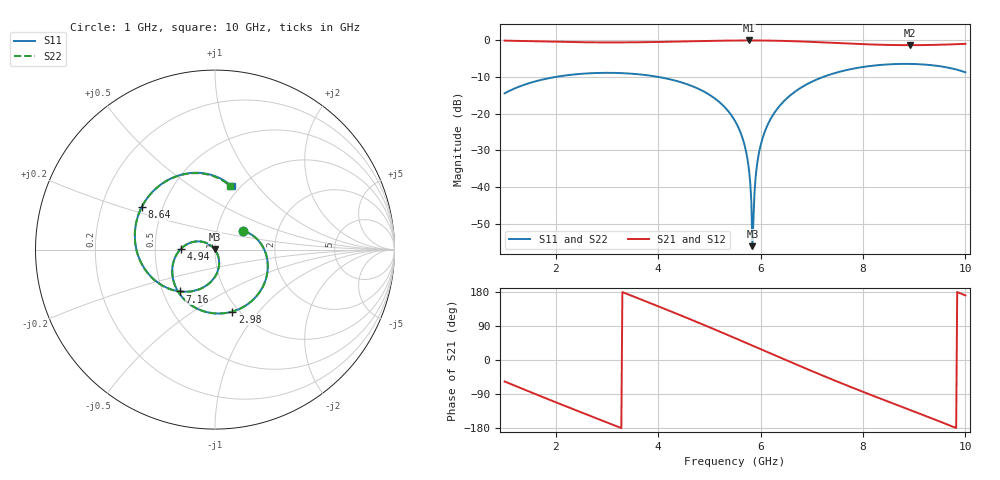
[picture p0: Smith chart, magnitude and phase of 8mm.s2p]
! Touchstone file exported from HFSS 2018.2.0
!  File:  C:/Users/10024/OneDrive - The University of Nottingham Ningbo China/Year 4/Final Year Project/HFSS project/Passive_Resonator_Antenna.aedt
!  Generated:  12:15:00 下午  3月 12, 2022
!  Design:  SMA_Thru
!  Project:  Passive_Resonator_Antenna
!  Setup:  Setup1
!  Solution:  Sweep
! Variables:
!  MW = 1mm
!  ThruL = 8mm
!  g = 0.2mm
!  subH = 0.8mm
!  subX = 20mm
!  subY = 18mm
!  tapW = 1mm
# GHZ S MA R 50.000000
! Modal data exported
! Port[1] = SMA_CONNECTOR1_1:1
! Port[2] = SMA_CONNECTOR2_1:1
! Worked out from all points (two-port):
!   451 points, 1 GHz to 10 GHz, reference 50 ohm
!   highest |S21| = -0.12 dB at 5.78 GHz (marker M1); lowest = -1.4 dB at 8.92 GHz (marker M2)
!   |S21| within 3 dB of the highest: start of sweep to end of sweep
!   lowest |S11| = -56.0 dB at 5.84 GHz (marker M3), VSWR 1.00, Z = 49.9 + j0.0644 ohm
!   |S11| at or under -10 dB: start of sweep to 2.008 GHz; 3.992 GHz to 7.227 GHz (3.235 GHz wide, 57.7 % of centre)
!   |S22| runs from -56.8 to -6.5 dB; largest |S21 - S12| = 2.4e-14
!   S11 on the Smith chart (normalised r, x): 1 GHz: 1.34, +0.29; 2.98 GHz: 0.93, -0.74; 4.94 GHz: 0.68, +0.00; 7.16 GHz: 0.61, -0.31; 8.64 GHz: 0.38, +0.23; 10 GHz: 0.91, +0.74
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1  0.1889 33.2  0.981 -56.7  0.981 -56.7  0.1889 33.3
! Gamma ! 0.0151858380091562 30.3716836112055 0.0151858380091506 30.3716836111856
! Port Impedance50 0 50 0
1.72  0.2883 -6.6  0.9551 -96.4  0.9551 -96.4  0.2883 -6.6
2.5  0.3477 -48.7  0.9332 -138.3  0.9332 -138.3  0.3477 -48.7
2.98  0.3586 -74.2  0.928 -163.8  0.928 -163.8  0.3586 -74.2
4  0.3156 -128.9  0.941 141.8  0.941 141.8  0.3155 -128.8
4.94  0.1914 179.2  0.9711 89.9  0.9711 89.9  0.1914 179.3
5.5  0.07964 147.3  0.9845 57.9  0.9845 57.9  0.07961 147.4
5.68  0.03895 137.5  0.9862 47.4  0.9862 47.4  0.03892 137.3
5.78  0.01562 133.3  0.9865 41.6  0.9865 41.6  0.01558 132.5
5.84  0.001588 156.0  0.9863 38.1  0.9863 38.1  0.001445 146.0
5.88  0.008193 -60.8  0.9861 35.8  0.9861 35.8  0.00819 -58.4
5.92  0.01777 -60.2  0.9858 33.4  0.9858 33.4  0.01778 -58.9
5.96  0.0274 -61.7  0.9855 31.1  0.9855 31.1  0.02742 -60.8
6.14  0.07115 -71.2  0.9825 20.6  0.9825 20.6  0.07116 -70.7
6.48  0.1536 -90.8  0.9716 0.8  0.9716 0.8  0.1536 -90.4
7  0.2711 -120.8  0.9434 -29.1  0.9434 -29.1  0.2711 -120.3
7.16  0.3034 -129.8  0.933 -38.1  0.933 -38.1  0.3033 -129.4
7.82  0.4097 -166.4  0.8891 -74.4  0.8891 -74.4  0.4096 -165.9
8.5  0.4673 157.3  0.8575 -110.2  0.8575 -110.2  0.467 157.9
8.64  0.472 149.9  0.8541 -117.5  0.8541 -117.5  0.4718 150.6
8.92  0.4738 135.1  0.8513 -131.9  0.8513 -131.9  0.4736 135.9
10  0.3645 75.4  0.8876 170.4  0.8876 170.4  0.3643 77.0
